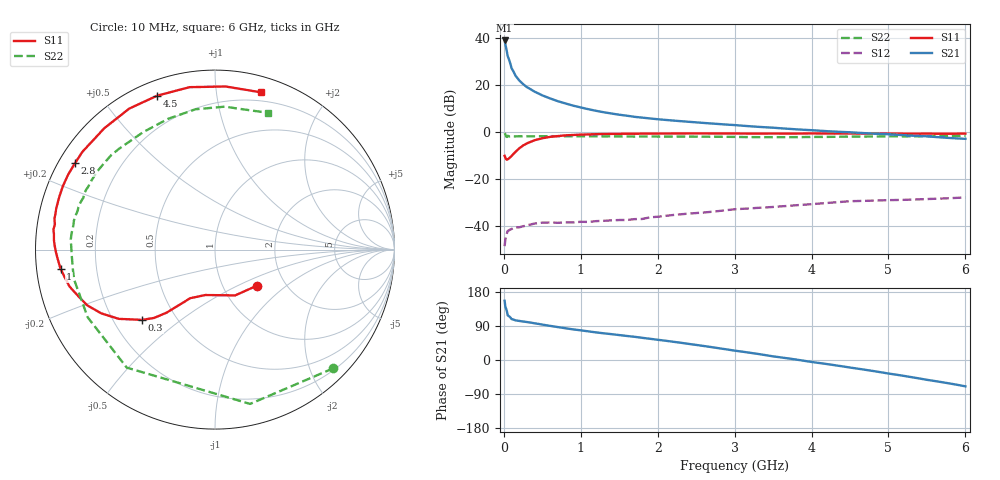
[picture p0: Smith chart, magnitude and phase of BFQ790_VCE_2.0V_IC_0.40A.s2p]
! (c) 2015  Infineon Technologies AG, Munich
! Infineon Technologies  Discrete & RF Semiconductors
! BFQ790
! VCE =  2.0 V,  IC = 0.40 A
! Common Emitter S-Parameters:  May 2015
# GHz  S  MA  R  50
!  f  S11  S21  S12  S22
! GHz  MAG  ANG  MAG  ANG  MAG  ANG  MAG  ANG
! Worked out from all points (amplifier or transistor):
!   77 points, 10 MHz to 6 GHz, reference 50 ohm
!   highest |S21| = 38.8 dB at 10 MHz (marker M1)
!   |S21| within 3 dB of that: start of sweep to 28.78 MHz
!   unconditionally stable (mu >= 1): 162.3 MHz to end of sweep
!   at 130 MHz: K = 0.87, MSG = 33.1 dB, |S12| = -40.9 dB
!   at 2.2 GHz: K = 1.38, MAG = 16.4 dB, |S12| = -35.4 dB
!   at 6 GHz: K = 1.11, MAG = 10.4 dB, |S12| = -27.9 dB
!   S11 on the Smith chart (normalised r, x): 10 MHz: 1.44, -0.64; 300 MHz: 0.32, -0.37; 1 GHz: 0.07, -0.06; 2.8 GHz: 0.05, +0.28; 4.5 GHz: 0.06, +0.69; 6 GHz: 0.13, +1.33
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0.01  0.3075 -41.0  86.85 156.4  0.0037 65.6  0.9338 -45.1
0.02  0.2788 -66.2  71.35 140.1  0.0052 48.7  0.8817 -77.2
0.05  0.2588 -102.0  40.37 117.7  0.0078 29.0  0.821 -126.8
0.1  0.3043 -117.1  22.38 108.0  0.0086 19.3  0.8034 -152.0
0.15  0.3716 -123.2  15.66 104.7  0.0093 18.0  0.7958 -162.7
0.2  0.4428 -127.5  12.3 103.1  0.0093 22.2  0.8024 -167.9
0.25  0.5098 -131.7  10.27 101.6  0.0098 16.9  0.7997 -171.6
0.3  0.565 -136.1  8.842 100.2  0.0102 17.5  0.7983 -174.5
0.4  0.6598 -144.2  7.079 96.8  0.0112 16.6  0.7993 -178.5
0.5  0.7262 -150.7  5.916 93.4  0.0117 12.8  0.8017 178.4
0.6  0.7773 -156.5  5.103 90.1  0.0118 16.3  0.8054 175.9
0.8  0.8365 -165.8  3.989 83.8  0.0118 11.4  0.8016 171.8
1  0.8671 -172.9  3.278 78.3  0.0122 14.6  0.8024 168.4
1.1  0.877 -176.3  3.003 75.5  0.0121 16.7  0.801 166.7
1.5  0.9013 174.6  2.297 65.8  0.0133 18.2  0.7951 161.1
2.1  0.9143 163.4  1.782 50.9  0.0163 19.8  0.7882 152.2
2.8  0.9167 148.3  1.455 30.9  0.0207 13.1  0.7819 137.8
3.1  0.9146 141.4  1.343 22.0  0.023 10.5  0.7711 131.2
4.1  0.9163 119.2  1.051 -7.9  0.0297 -5.8  0.7744 107.4
4.5  0.9161 110.6  0.973 -19.9  0.0334 -13.6  0.7893 97.9
5.1  0.9114 96.4  0.863 -38.7  0.0354 -26.8  0.7966 84.1
6  0.913 73.6  0.706 -69.5  0.0401 -48.4  0.818 68.7
